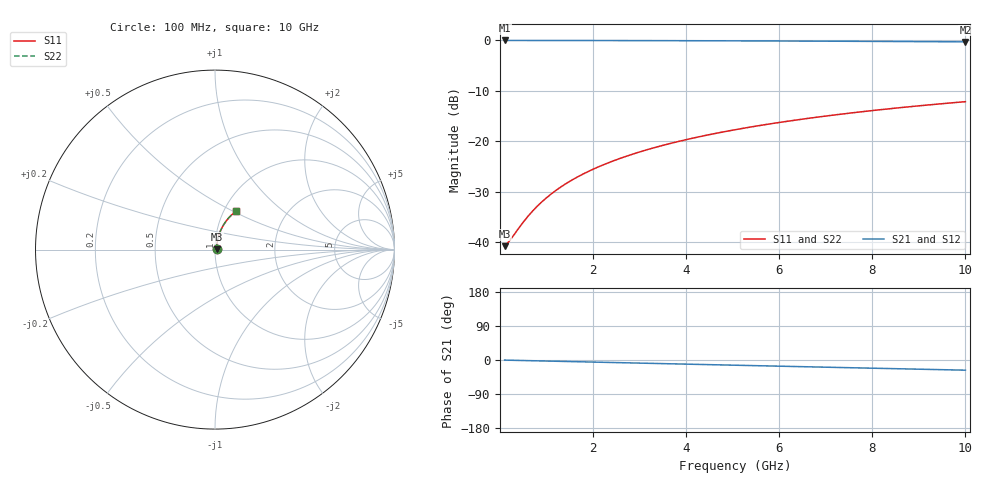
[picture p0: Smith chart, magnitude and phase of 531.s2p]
# Hz S RI R 50.00
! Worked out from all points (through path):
!   100 points, 100 MHz to 10 GHz, reference 50 ohm
!   highest |S21| = -0.08 dB at 100 MHz (marker M1); lowest = -0.4 dB at 10 GHz (marker M2)
!   group delay of S21, straight-line fit = 7.47 ps
!   lowest |S11| = -40.8 dB at 100 MHz (marker M3), VSWR 1.02, Z = 50.9 + j0.26 ohm
!   |S11| at or under -10 dB: start of sweep to end of sweep
!   |S22| runs from -40.8 to -12.2 dB; largest |S21 - S12| = 0
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1e8  0.00873 0.00255  0.9913 -0.00473  0.9913 -0.00473  0.00873 0.00255
2e8  0.00882 0.00511  0.9912 -0.00946  0.9912 -0.00946  0.00882 0.00511
5e8  0.00918 0.0128  0.9907 -0.0236  0.9907 -0.0236  0.00918 0.0128
6e8  0.00934 0.0153  0.9906 -0.0284  0.9906 -0.0284  0.00934 0.0153
7e8  0.00952 0.0178  0.9903 -0.0331  0.9903 -0.0331  0.00952 0.0178
9e8  0.00995 0.0229  0.9898 -0.0425  0.9898 -0.0425  0.00995 0.0229
1.1e9  0.0105 0.028  0.9892 -0.052  0.9892 -0.052  0.0105 0.028
1.3e9  0.0111 0.0331  0.9885 -0.0614  0.9885 -0.0614  0.0111 0.0331
1.5e9  0.0118 0.0381  0.9876 -0.0708  0.9876 -0.0708  0.0118 0.0381
1.8e9  0.013 0.0457  0.9862 -0.0849  0.9862 -0.0849  0.013 0.0457
2.1e9  0.0145 0.0531  0.9844 -0.0989  0.9844 -0.0989  0.0145 0.0531
2.5e9  0.0167 0.0631  0.9817 -0.1176  0.9817 -0.1176  0.0167 0.0631
2.9e9  0.0194 0.0729  0.9786 -0.1361  0.9786 -0.1361  0.0194 0.0729
3.4e9  0.0232 0.085  0.974 -0.1591  0.974 -0.1591  0.0232 0.085
3.8e9  0.0266 0.0945  0.9699 -0.1774  0.9699 -0.1774  0.0266 0.0945
4.2e9  0.0304 0.1039  0.9653 -0.1955  0.9653 -0.1955  0.0304 0.1039
5.1e9  0.0402 0.1243  0.9535 -0.2356  0.9535 -0.2356  0.0402 0.1243
5.9e9  0.0502 0.1416  0.9413 -0.2704  0.9413 -0.2704  0.0502 0.1416
6.7e9  0.0615 0.158  0.9275 -0.3044  0.9275 -0.3044  0.0615 0.158
7.5e9  0.0739 0.1735  0.9124 -0.3374  0.9124 -0.3374  0.0739 0.1735
8.4e9  0.0891 0.1896  0.8937 -0.3733  0.8937 -0.3733  0.0891 0.1896
1e10  0.1188 0.2147  0.8567 -0.4336  0.8567 -0.4336  0.1188 0.2147
